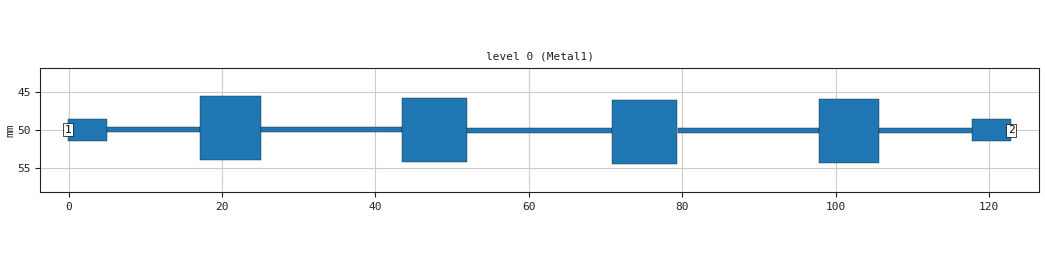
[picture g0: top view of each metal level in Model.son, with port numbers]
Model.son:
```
FTYP SONPROJ 19 ! Sonnet Project File
VER 18.53
HEADER
LIC SL65a9b7de
DAT 04/10/2024 19:31:09
BUILT_BY_CREATED xgeom 18.53-Lite 04/07/2024 22:11:35
BUILT_BY_SAVED sonnet 18.53-Lite
MDATE 04/10/2024 19:27:51
HDATE 04/10/2024 19:27:51
END HEADER
DIM
ANG DEG
CAP PF
CON /OH
FREQ GHZ
IND NH
LNG MM
RES OH
END DIM
CONTROL
VARSWP
OPTIONS  -d
SPEED 0
CACHE_ABS 2
Q_ACC N
END CONTROL
GEO
TMET "Lossless" 0 SUP 0 0 0 0
BMET "Lossless" 0 SUP 0 0 0 0
BOX 1 122.85 100 2454 2000 20 0
      1.524 1 1 0 0 0 0 "Air"
      0.035 4.4 1 0 0 0 0 "FR-4"
TECHLAY METAL Metal1 <UNSPECIFIED> -2 -65534 
0 0 -1 N 9 1 1 100 100 0 0 0 Y
END
END
LORGN -0.3000491049 99.5 U 
POR1 BOX
POLY 57 1
3
1 50 0 0 0 -0.009019447433 49.96198988 
POR1 BOX
POLY 59 1
1
2 50 0 0 0 122.8590194 50.02888811 
NUM 11
0 5 -1 N 57 1 1 100 100 0 0 0 Y
TLAYNAM Metal1 INH
-0.009019447433 48.53437988
5.059242253 48.53437988
5.059242253 51.38959988
-0.009019447433 51.38959988
-0.009019447433 48.53437988
END
0 5 -1 N 59 1 1 100 100 0 0 0 Y
TLAYNAM Metal1 INH
117.7907577 48.60127811
122.8590194 48.60127811
122.8590194 51.45649811
117.7907577 51.45649811
117.7907577 48.60127811
END
0 5 -1 N 79 1 1 100 100 0 0 0 Y
TLAYNAM Metal1 INH
5.078884697 49.6053248
17.15043154 49.6053248
17.15043154 50.26497217
5.078884697 50.26497217
5.078884697 49.6053248
END
0 5 -1 N 82 1 1 100 100 0 0 0 Y
TLAYNAM Metal1 INH
17.16576048 45.61793879
25.02956061 45.61793879
25.02956061 53.9443154
17.16576048 53.9443154
17.16576048 45.61793879
END
0 5 -1 N 83 1 1 100 100 0 0 0 Y
TLAYNAM Metal1 INH
25.02991333 49.65437636
43.429366 49.65437636
43.429366 50.32344737
25.02991333 50.32344737
25.02991333 49.65437636
END
0 5 -1 N 84 1 1 100 100 0 0 0 Y
TLAYNAM Metal1 INH
43.45082774 45.82127697
51.94945452 45.82127697
51.94945452 54.15326401
43.45082774 54.15326401
43.45082774 45.82127697
END
0 5 -1 N 89 1 1 100 100 0 0 0 Y
TLAYNAM Metal1 INH
51.97302287 49.69428153
70.87074343 49.69428153
70.87074343 50.36454551
51.97302287 50.36454551
51.97302287 49.69428153
END
0 5 -1 N 93 1 1 100 100 0 0 0 Y
TLAYNAM Metal1 INH
70.85779117 46.05007417
79.35641795 46.05007417
79.35641795 54.38206121
70.85779117 54.38206121
70.85779117 46.05007417
END
0 5 -1 N 94 1 1 100 100 0 0 0 Y
TLAYNAM Metal1 INH
79.38703846 49.70807477
97.78649113 49.70807477
97.78649113 50.37714578
79.38703846 50.37714578
79.38703846 49.70807477
END
0 5 -1 N 95 1 1 100 100 0 0 0 Y
TLAYNAM Metal1 INH
97.82514273 45.99743963
105.6889429 45.99743963
105.6889429 54.32381624
97.82514273 54.32381624
97.82514273 45.99743963
END
0 5 -1 N 96 1 1 100 100 0 0 0 Y
TLAYNAM Metal1 INH
105.681842 49.77130974
117.7533888 49.77130974
117.7533888 50.43095711
105.681842 50.43095711
105.681842 49.77130974
END
END GEO
OPT
MAX 100
END OPT
VARSWP
ENABLED Y
FREQ Y AY ABS_ENTRY UNK 
END
END VARSWP
TRANSLATOR
DXFEXPORT
UseTLs true
SepObj true
SepMat true
DivideMulti false
Circles false
CircleType inscribed
CircleSize 0
KeepMetals true
KeepVias true
KeepViaPads true
KeepBricks true
KeepEdgeVias true
KeepParent true
ConvertParent false
AllEdgeViasAsVia false
END
END TRANSLATOR
```
